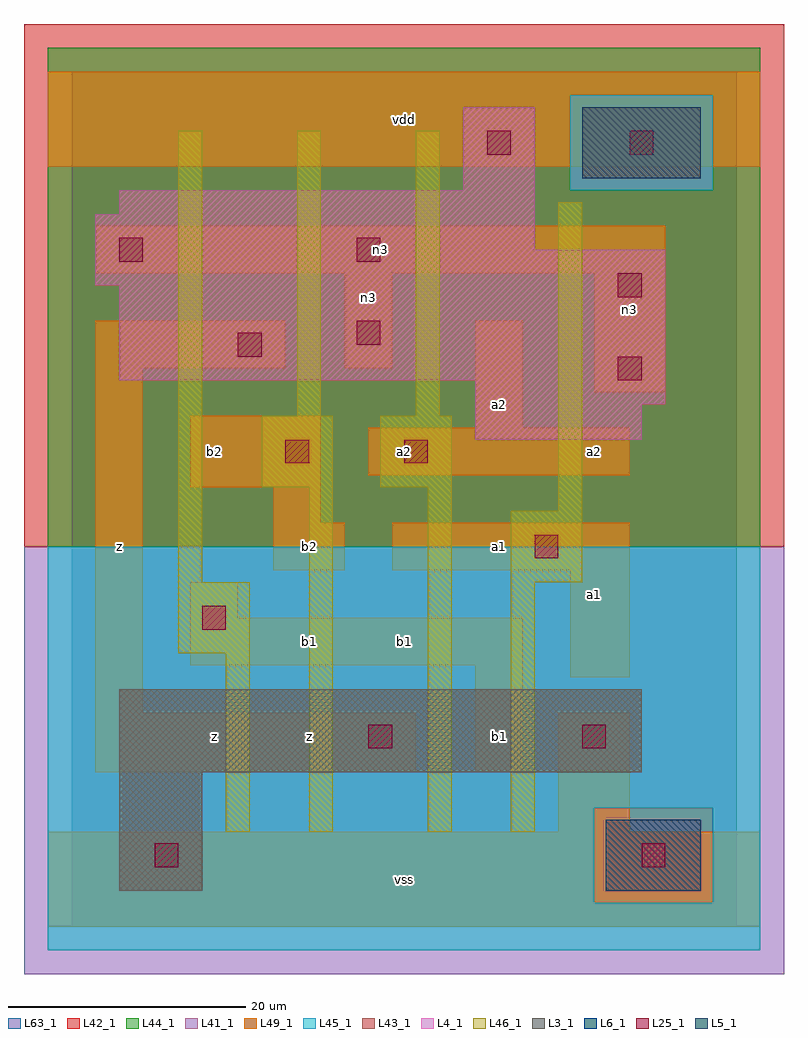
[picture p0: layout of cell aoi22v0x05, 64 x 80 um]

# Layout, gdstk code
import gdstk
lib = gdstk.Library(unit=1e-6, precision=1e-09)
def R(c, l, rs):  # rectangles x0, y0, x1, y1
    for r in rs: c.add(gdstk.rectangle(r[:2], r[2:], *l))
L3_1 = (3, 1)
L4_1 = (4, 1)
L5_1 = (5, 1)
L6_1 = (6, 1)
L25_1 = (25, 1)
L41_1 = (41, 1)
L42_1 = (42, 1)
L43_1 = (43, 1)
L44_1 = (44, 1)
L45_1 = (45, 1)
L46_1 = (46, 1)
L49_1 = (49, 1)
L63_1 = (63, 1)

aoi22v0x05 = lib.new_cell('aoi22v0x05')
R(aoi22v0x05, L3_1, [(4,3,11,13), (4,13,48,20)])
R(aoi22v0x05, L4_1, [(34,41,48,44), (34,44,50,46), (4,46,50,54), (2,54,50,57), (2,57,39,60), (4,60,39,62), (33,62,39,69)])
R(aoi22v0x05, L5_1, [(43,63,53,69)])
R(aoi22v0x05, L6_1, [(45,3,53,9), (45,3,53,9)])
R(aoi22v0x05, L25_1, [(7,5,9,7), (48,5,50,7), (25,15,27,17), (43,15,45,17), (11,25,13,27), (39,31,41,33), (18,39,20,41), (28,39,30,41), (46,46,48,48), (14,48,16,50), (24,49,26,51), (46,53,48,55), (4,56,6,58), (24,56,26,58), (35,65,37,67), (47,65,49,67)])
R(aoi22v0x05, L41_1, [(-4,-4,60,32)])
R(aoi22v0x05, L42_1, [(-4,32,60,76)])
R(aoi22v0x05, L43_1, [(4,3,11,13), (45,3,53,9), (4,13,48,20), (34,41,48,44), (34,44,50,46), (4,46,50,54), (2,54,50,57), (2,57,39,60), (4,60,39,62), (33,62,39,69), (43,63,53,69)])
R(aoi22v0x05, L44_1, [(44,2,54,10), (-2,32,58,62), (-2,62,42,70), (54,62,58,70), (-2,70,58,74)])
R(aoi22v0x05, L45_1, [(-2,-2,58,2), (-2,2,44,10), (54,2,58,10), (-2,10,58,32), (42,62,54,70)])
R(aoi22v0x05, L46_1, [(13,8,15,23), (20,8,22,37), (30,8,32,37), (37,8,39,29), (9,23,15,29), (9,29,11,67), (37,29,43,35), (41,35,43,61), (16,37,22,43), (26,37,32,43), (19,43,21,67), (29,43,31,67)])
R(aoi22v0x05, L49_1, [(-2,0,58,8), (41,8,47,18), (2,13,29,18), (34,13,38,22), (2,18,6,47), (42,21,47,30), (10,22,38,26), (10,26,14,29), (17,30,23,34), (27,30,47,34), (17,34,21,37), (10,37,21,43), (25,38,47,42), (34,42,38,51), (44,45,50,55), (2,47,18,51), (23,47,27,55), (2,55,50,59), (-2,64,58,72)])
R(aoi22v0x05, L63_1, [(0,0,56,72)])
aoi22v0x05.add(gdstk.Label('z', (4,32), layer=49, texttype=1))
aoi22v0x05.add(gdstk.Label('z', (20,16), layer=49, texttype=1))
aoi22v0x05.add(gdstk.Label('z', (12,16), layer=49, texttype=1))
aoi22v0x05.add(gdstk.Label('b1', (20,24), layer=49, texttype=1))
aoi22v0x05.add(gdstk.Label('b2', (20,32), layer=49, texttype=1))
aoi22v0x05.add(gdstk.Label('b2', (12,40), layer=49, texttype=1))
aoi22v0x05.add(gdstk.Label('n3', (25,53), layer=49, texttype=1))
aoi22v0x05.add(gdstk.Label('vss', (28,4), layer=49, texttype=1))
aoi22v0x05.add(gdstk.Label('b1', (36,16), layer=49, texttype=1))
aoi22v0x05.add(gdstk.Label('b1', (28,24), layer=49, texttype=1))
aoi22v0x05.add(gdstk.Label('a1', (36,32), layer=49, texttype=1))
aoi22v0x05.add(gdstk.Label('a2', (28,40), layer=49, texttype=1))
aoi22v0x05.add(gdstk.Label('a2', (36,44), layer=49, texttype=1))
aoi22v0x05.add(gdstk.Label('vdd', (28,68), layer=49, texttype=1))
aoi22v0x05.add(gdstk.Label('a1', (44,28), layer=49, texttype=1))
aoi22v0x05.add(gdstk.Label('a2', (44,40), layer=49, texttype=1))
aoi22v0x05.add(gdstk.Label('n3', (47,52), layer=49, texttype=1))
aoi22v0x05.add(gdstk.Label('n3', (26,57), layer=49, texttype=1))

lib.write_gds('aoi22v0x05.gds')
